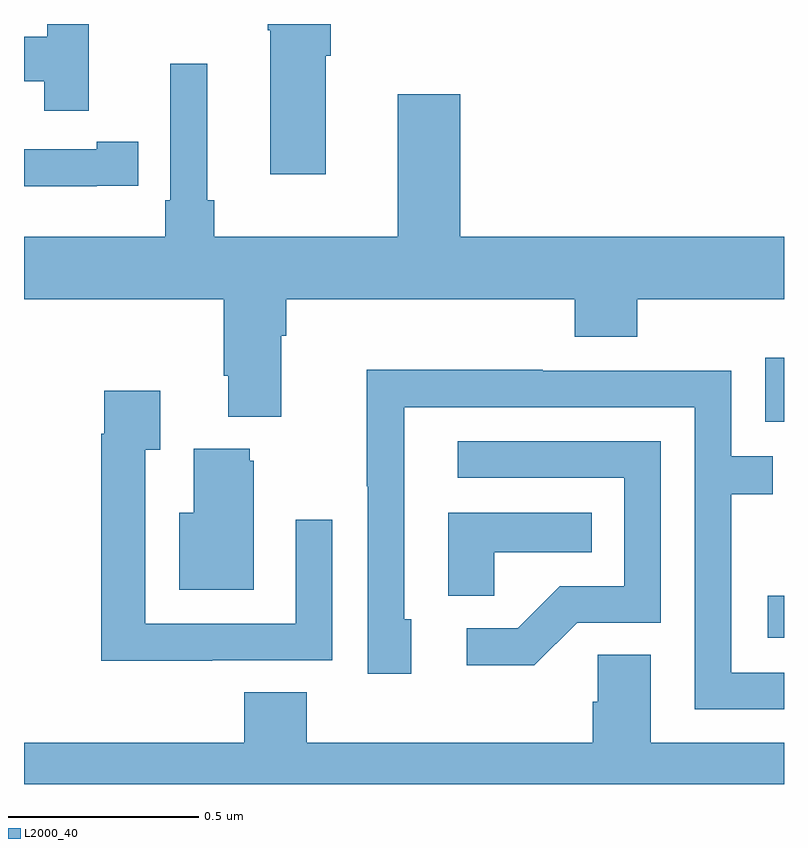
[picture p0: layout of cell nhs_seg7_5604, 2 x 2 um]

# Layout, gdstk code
import gdstk
lib = gdstk.Library(unit=1e-6, precision=1e-09)
def R(c, l, rs):  # rectangles x0, y0, x1, y1
    for r in rs: c.add(gdstk.rectangle(r[:2], r[2:], *l))
def P(c, l, *ps):  # polygons
    for p in ps: c.add(gdstk.Polygon(p, *l))
L2000_40 = (2000, 40)

nhs_seg7_5604 = lib.new_cell('nhs_seg7_5604')
R(nhs_seg7_5604, L2000_40, [(189.957,1006.385,190,1006.495), (189.951,1006.953,190,1007.122)])
P(nhs_seg7_5604, L2000_40, [(188.171,1008),(188.061,1008),(188.061,1007.966),(188,1007.966),(188,1007.85),(188.053,1007.85),(188.053,1007.772),(188.171,1007.772)],
  [(188.794,1007.916),(188.807,1007.916),(188.807,1008),(188.641,1008),(188.641,1007.983),(188.648,1007.983),(188.648,1007.604),(188.794,1007.604)],
  [(188.677,1007.18),(188.69,1007.18),(188.69,1007.276),(189.449,1007.276),(189.449,1007.177),(189.614,1007.177),(189.614,1007.276),(190,1007.276),(190,1007.44),(189.148,1007.44),(189.148,1007.815),(188.984,1007.815),(188.984,1007.44),(188.501,1007.44),(188.501,1007.536),(188.482,1007.536),(188.482,1007.896),(188.385,1007.896),(188.385,1007.536),(188.372,1007.536),(188.372,1007.44),(188,1007.44),(188,1007.276),(188.525,1007.276),(188.525,1007.074),(188.537,1007.074),(188.537,1006.967),(188.677,1006.967)],
  [(188.192,1007.574),(188.3,1007.574),(188.3,1007.69),(188.192,1007.69),(188.192,1007.67),(188,1007.67),(188,1007.573),(188.192,1007.573)],
  [(190,1006.293),(189.861,1006.293),(189.861,1006.762),(189.971,1006.762),(189.971,1006.863),(189.861,1006.863),(189.861,1007.088),(189.365,1007.088),(189.365,1007.09),(188.902,1007.09),(188.902,1006.783),(188.904,1006.783),(188.904,1006.29),(189.019,1006.29),(189.019,1006.434),(189,1006.434),(189,1006.992),(189.765,1006.992),(189.765,1006.197),(190,1006.197)],
  [(188.495,1006.326),(188.811,1006.326),(188.811,1006.696),(188.715,1006.696),(188.715,1006.422),(188.319,1006.422),(188.319,1006.879),(188.359,1006.879),(188.359,1007.035),(188.211,1007.035),(188.211,1006.922),(188.203,1006.922),(188.203,1006.325),(188.495,1006.325)],
  [(189.456,1006.425),(189.675,1006.425),(189.675,1006.902),(189.141,1006.902),(189.141,1006.806),(189.579,1006.806),(189.579,1006.521),(189.41,1006.521),(189.299,1006.41),(189.165,1006.41),(189.165,1006.313),(189.343,1006.313)],
  [(188.605,1006.851),(188.594,1006.851),(188.594,1006.882),(188.447,1006.882),(188.447,1006.714),(188.408,1006.714),(188.408,1006.511),(188.605,1006.511)],
  [(189.237,1006.61),(189.494,1006.61),(189.494,1006.714),(189.116,1006.714),(189.116,1006.495),(189.237,1006.495)],
  [(190,1006.108),(189.649,1006.108),(189.649,1006.34),(189.51,1006.34),(189.51,1006.217),(189.497,1006.217),(189.497,1006.108),(188.744,1006.108),(188.744,1006.241),(188.579,1006.241),(188.579,1006.108),(188,1006.108),(188,1006),(190,1006)])

lib.write_gds('nhs_seg7_5604.gds')
